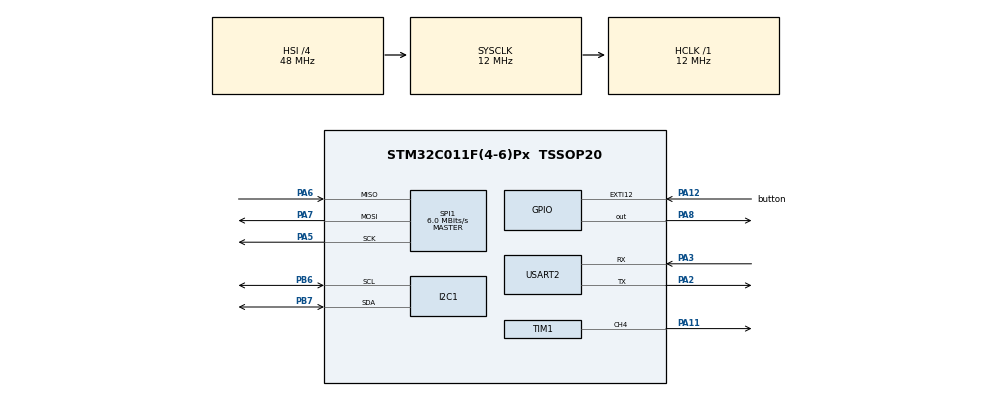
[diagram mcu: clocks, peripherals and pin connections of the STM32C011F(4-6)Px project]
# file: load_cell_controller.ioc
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I2C1.Timing=0x00402D41
Mcu.Family=STM32C0
Mcu.Name=STM32C011F(4-6)Px
Mcu.Package=TSSOP20
NVIC.EXTI4_15_IRQn=true\:0\:0\:false\:false\:true\:true\:true\:true
PA11\ [PA9].Signal=S_TIM1_CH4
PA12\ [PA10].GPIO_Label=button
PA12\ [PA10].Signal=GPXTI12
PA13.Mode=Serial_Wire
PA13.Signal=DEBUG_SWDIO
PA14-BOOT0.Mode=Serial_Wire
PA14-BOOT0.Signal=DEBUG_SWCLK
PA2.Mode=Asynchronous
PA2.Signal=USART2_TX
PA3.Mode=Asynchronous
PA3.Signal=USART2_RX
PA5.GPIO_PuPd=GPIO_NOPULL
PA5.GPIO_Speed=GPIO_SPEED_FREQ_VERY_HIGH
PA5.Mode=Full_Duplex_Master
PA5.Signal=SPI1_SCK
PA6.GPIO_PuPd=GPIO_NOPULL
PA6.GPIO_Speed=GPIO_SPEED_FREQ_VERY_HIGH
PA6.Mode=Full_Duplex_Master
PA6.Signal=SPI1_MISO
PA7.GPIO_PuPd=GPIO_NOPULL
PA7.GPIO_Speed=GPIO_SPEED_FREQ_VERY_HIGH
PA7.Mode=Full_Duplex_Master
PA7.Signal=SPI1_MOSI
PA8.Signal=GPIO_Output
PB6.Mode=I2C
PB6.Signal=I2C1_SCL
PB7.Mode=I2C
PB7.Signal=I2C1_SDA
ProjectManager.HeapSize=0x200
ProjectManager.StackSize=0x400
ProjectManager.TargetToolchain=STM32CubeIDE
RCC.ADCFreq_Value=12000000
RCC.AHBFreq_Value=12000000
RCC.CortexFreq_Value=12000000
RCC.EXTERNAL_CLOCK_VALUE=12288000
RCC.HCLKFreq_Value=12000000
RCC.HSE_VALUE=8000000
RCC.HSI_VALUE=48000000
RCC.LSE_VALUE=32768
RCC.SYSCLKFreq_VALUE=12000000
SH.S_TIM1_CH4.0=TIM1_CH4,PWM Generation4 CH4
SPI1.BaudRatePrescaler=SPI_BAUDRATEPRESCALER_2
SPI1.CLKPolarity=SPI_POLARITY_LOW
SPI1.CalculateBaudRate=6.0 MBits/s
SPI1.Direction=SPI_DIRECTION_2LINES
SPI1.Mode=SPI_MODE_MASTER
SPI1.VirtualType=VM_MASTER
TIM1.Channel-PWM\ Generation4\ CH4=TIM_CHANNEL_4
TIM1.Prescaler=1024
USART2.VirtualMode-Asynchronous=VM_ASYNC
board=custom

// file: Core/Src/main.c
/* USER CODE BEGIN Header */
/**
  ******************************************************************************
  * @file           : main.c
  * @brief          : Main program body
  ******************************************************************************
  * @attention
  *
  * Copyright (c) 2024 STMicroelectronics.
  * All rights reserved.
  *
  * This software is licensed under terms that can be found in the LICENSE file
  * in the root directory of this software component.
  * If no LICENSE file comes with this software, it is provided AS-IS.
  *
  ******************************************************************************
  */
/* USER CODE END Header */
#include "main.h"

/* USER CODE BEGIN Includes */
#include <stdio.h>
#include "MX25L.h"
/* USER CODE END Includes */

/* USER CODE BEGIN PD */
#define I2C_ADDRESS 0x18 << 1
/* USER CODE END PD */

I2C_HandleTypeDef hi2c1;

SPI_HandleTypeDef hspi1;

TIM_HandleTypeDef htim1;

UART_HandleTypeDef huart2;

/* USER CODE BEGIN PV */
int pwm = 65535;
int offset;
int writing = 0;
int address = 0;
/* USER CODE END PV */

void SystemClock_Config(void);
static void MX_GPIO_Init(void);
static void MX_I2C1_Init(void);
static void MX_SPI1_Init(void);
static void MX_TIM1_Init(void);
static void MX_USART2_UART_Init(void);
/* USER CODE BEGIN PFP */
int read_i2c_value();
void write_i2c_value(unsigned char value);
/* USER CODE END PFP */

int main(void)
{

  /* USER CODE BEGIN 1 */
	setbuf(stdout, NULL);
  /* USER CODE END 1 */

  /* MCU Configuration--------------------------------------------------------*/

  /* Reset of all peripherals, Initializes the Flash interface and the Systick. */
  HAL_Init();

  /* Configure the system clock */
  SystemClock_Config();

  /* Initialize all configured peripherals */
  MX_GPIO_Init();
  MX_I2C1_Init();
  MX_SPI1_Init();
  MX_TIM1_Init();
  MX_USART2_UART_Init();
  /* USER CODE BEGIN 2 */
  printf("\r\n");

   	printf("Scanning I2C bus:\r\n");
  	HAL_StatusTypeDef result;
   	uint8_t i;
   	for (i=1; i<128; i++)
   	{
   	  /*
   	   * the HAL wants a left aligned i2c address
   	   * &hi2c1 is the handle
   	   * (uint16_t)(i<<1) is the i2c address left aligned
   	   * retries 2
   	   * timeout 2
   	   */
   	  result = HAL_I2C_IsDeviceReady(&hi2c1, (uint16_t)(i<<1), 2, 2);
   	  if (result != HAL_OK) // HAL_ERROR or HAL_BUSY or HAL_TIMEOUT
   	  {
   		  printf("."); // No ACK received at that address
   	  }
   	  if (result == HAL_OK)
   	  {
   		  printf("0x%X", i); // Received an ACK at that address
   	  }
   	}
   	printf("\r\n");
   	write_i2c_value(0b00000000);

   	SPI_Init();
	SetStatus(0x00);
	byte status = GetStatus();
	printf("\r\nGet status:%d\r\n",status);
	printf("-----------------\r\n");
	char buffer[257];
	Get_Identification((byte *)buffer);
	printf("Identification read:\r\n");
	printf("Byte 0: %x\r\n", buffer[0]);
	printf("Byte 1: %x\r\n", buffer[1]);
	printf("Byte 2: %x\r\n", buffer[2]);
	printf("-----------------\r\n");

	for(int i = 0; i < 10; i++){
		offset += read_i2c_value();
		HAL_Delay(1000);
	}
	offset /= 10;
	printf("offset:%d", offset);
  /* USER CODE END 2 */

  /* Infinite loop */
  /* USER CODE BEGIN WHILE */
#define SCALE 100000
  while (1)
  {

	  int val = read_i2c_value() - offset;
	  if (val < 0){val = 0;}
	  long int scaled_val = val * 178;
	  printf("%ld %ld : %ld.%ld, wtg: %d, %d\r\n", val,scaled_val, scaled_val / SCALE, scaled_val % SCALE,writing,address);
	  address += 1;
	  HAL_Delay(100);
    /* USER CODE END WHILE */

  }
}

void SystemClock_Config(void)
{
  RCC_OscInitTypeDef RCC_OscInitStruct = {0};
  RCC_ClkInitTypeDef RCC_ClkInitStruct = {0};

  /** Initializes the RCC Oscillators according to the specified parameters
  * in the RCC_OscInitTypeDef structure.
  */
  RCC_OscInitStruct.OscillatorType = RCC_OSCILLATORTYPE_HSI;
  RCC_OscInitStruct.HSIState = RCC_HSI_ON;
  RCC_OscInitStruct.HSIDiv = RCC_HSI_DIV4;
  RCC_OscInitStruct.HSICalibrationValue = RCC_HSICALIBRATION_DEFAULT;
  if (HAL_RCC_OscConfig(&RCC_OscInitStruct) != HAL_OK)
  {
    Error_Handler();
  }

  /** Initializes the CPU, AHB and APB buses clocks
  */
  RCC_ClkInitStruct.ClockType = RCC_CLOCKTYPE_HCLK|RCC_CLOCKTYPE_SYSCLK
                              |RCC_CLOCKTYPE_PCLK1;
  RCC_ClkInitStruct.SYSCLKSource = RCC_SYSCLKSOURCE_HSI;
  RCC_ClkInitStruct.SYSCLKDivider = RCC_SYSCLK_DIV1;
  RCC_ClkInitStruct.AHBCLKDivider = RCC_HCLK_DIV1;
  RCC_ClkInitStruct.APB1CLKDivider = RCC_APB1_DIV1;

  if (HAL_RCC_ClockConfig(&RCC_ClkInitStruct, FLASH_LATENCY_0) != HAL_OK)
  {
    Error_Handler();
  }
}

static void MX_I2C1_Init(void)
{

  hi2c1.Instance = I2C1;
  hi2c1.Init.Timing = 0x00402D41;
  hi2c1.Init.OwnAddress1 = 0;
  hi2c1.Init.AddressingMode = I2C_ADDRESSINGMODE_7BIT;
  hi2c1.Init.DualAddressMode = I2C_DUALADDRESS_DISABLE;
  hi2c1.Init.OwnAddress2 = 0;
  hi2c1.Init.OwnAddress2Masks = I2C_OA2_NOMASK;
  hi2c1.Init.GeneralCallMode = I2C_GENERALCALL_DISABLE;
  hi2c1.Init.NoStretchMode = I2C_NOSTRETCH_DISABLE;
  if (HAL_I2C_Init(&hi2c1) != HAL_OK)
  {
    Error_Handler();
  }

  /** Configure Analogue filter
  */
  if (HAL_I2CEx_ConfigAnalogFilter(&hi2c1, I2C_ANALOGFILTER_ENABLE) != HAL_OK)
  {
    Error_Handler();
  }

  /** Configure Digital filter
  */
  if (HAL_I2CEx_ConfigDigitalFilter(&hi2c1, 0) != HAL_OK)
  {
    Error_Handler();
  }

}

static void MX_SPI1_Init(void)
{

  /* SPI1 parameter configuration*/
  hspi1.Instance = SPI1;
  hspi1.Init.Mode = SPI_MODE_MASTER;
  hspi1.Init.Direction = SPI_DIRECTION_2LINES;
  hspi1.Init.DataSize = SPI_DATASIZE_8BIT;
  hspi1.Init.CLKPolarity = SPI_POLARITY_LOW;
  hspi1.Init.CLKPhase = SPI_PHASE_1EDGE;
  hspi1.Init.NSS = SPI_NSS_SOFT;
  hspi1.Init.BaudRatePrescaler = SPI_BAUDRATEPRESCALER_2;
  hspi1.Init.FirstBit = SPI_FIRSTBIT_MSB;
  hspi1.Init.TIMode = SPI_TIMODE_DISABLE;
  hspi1.Init.CRCCalculation = SPI_CRCCALCULATION_DISABLE;
  hspi1.Init.CRCPolynomial = 7;
  hspi1.Init.CRCLength = SPI_CRC_LENGTH_DATASIZE;
  hspi1.Init.NSSPMode = SPI_NSS_PULSE_ENABLE;
  if (HAL_SPI_Init(&hspi1) != HAL_OK)
  {
    Error_Handler();
  }

}

static void MX_TIM1_Init(void)
{

  TIM_MasterConfigTypeDef sMasterConfig = {0};
  TIM_OC_InitTypeDef sConfigOC = {0};
  TIM_BreakDeadTimeConfigTypeDef sBreakDeadTimeConfig = {0};

  htim1.Instance = TIM1;
  htim1.Init.Prescaler = 1024;
  htim1.Init.CounterMode = TIM_COUNTERMODE_UP;
  htim1.Init.Period = 65535;
  htim1.Init.ClockDivision = TIM_CLOCKDIVISION_DIV1;
  htim1.Init.RepetitionCounter = 0;
  htim1.Init.AutoReloadPreload = TIM_AUTORELOAD_PRELOAD_DISABLE;
  if (HAL_TIM_PWM_Init(&htim1) != HAL_OK)
  {
    Error_Handler();
  }
  sMasterConfig.MasterOutputTrigger = TIM_TRGO_RESET;
  sMasterConfig.MasterOutputTrigger2 = TIM_TRGO2_RESET;
  sMasterConfig.MasterSlaveMode = TIM_MASTERSLAVEMODE_DISABLE;
  if (HAL_TIMEx_MasterConfigSynchronization(&htim1, &sMasterConfig) != HAL_OK)
  {
    Error_Handler();
  }
  sConfigOC.OCMode = TIM_OCMODE_PWM1;
  sConfigOC.Pulse = 0;
  sConfigOC.OCPolarity = TIM_OCPOLARITY_HIGH;
  sConfigOC.OCFastMode = TIM_OCFAST_DISABLE;
  sConfigOC.OCIdleState = TIM_OCIDLESTATE_RESET;
  sConfigOC.OCNIdleState = TIM_OCNIDLESTATE_RESET;
  if (HAL_TIM_PWM_ConfigChannel(&htim1, &sConfigOC, TIM_CHANNEL_4) != HAL_OK)
  {
    Error_Handler();
  }
  sBreakDeadTimeConfig.OffStateRunMode = TIM_OSSR_DISABLE;
  sBreakDeadTimeConfig.OffStateIDLEMode = TIM_OSSI_DISABLE;
  sBreakDeadTimeConfig.LockLevel = TIM_LOCKLEVEL_OFF;
  sBreakDeadTimeConfig.DeadTime = 0;
  sBreakDeadTimeConfig.BreakState = TIM_BREAK_DISABLE;
  sBreakDeadTimeConfig.BreakPolarity = TIM_BREAKPOLARITY_HIGH;
  sBreakDeadTimeConfig.BreakFilter = 0;
  sBreakDeadTimeConfig.BreakAFMode = TIM_BREAK_AFMODE_INPUT;
  sBreakDeadTimeConfig.Break2State = TIM_BREAK2_DISABLE;
  sBreakDeadTimeConfig.Break2Polarity = TIM_BREAK2POLARITY_HIGH;
  sBreakDeadTimeConfig.Break2Filter = 0;
  sBreakDeadTimeConfig.Break2AFMode = TIM_BREAK_AFMODE_INPUT;
  sBreakDeadTimeConfig.AutomaticOutput = TIM_AUTOMATICOUTPUT_DISABLE;
  if (HAL_TIMEx_ConfigBreakDeadTime(&htim1, &sBreakDeadTimeConfig) != HAL_OK)
  {
    Error_Handler();
  }
  HAL_TIM_MspPostInit(&htim1);

}

static void MX_USART2_UART_Init(void)
{

  huart2.Instance = USART2;
  huart2.Init.BaudRate = 115200;
  huart2.Init.WordLength = UART_WORDLENGTH_8B;
  huart2.Init.StopBits = UART_STOPBITS_1;
  huart2.Init.Parity = UART_PARITY_NONE;
  huart2.Init.Mode = UART_MODE_TX_RX;
  huart2.Init.HwFlowCtl = UART_HWCONTROL_NONE;
  huart2.Init.OverSampling = UART_OVERSAMPLING_16;
  huart2.Init.OneBitSampling = UART_ONE_BIT_SAMPLE_DISABLE;
  huart2.Init.ClockPrescaler = UART_PRESCALER_DIV1;
  huart2.AdvancedInit.AdvFeatureInit = UART_ADVFEATURE_NO_INIT;
  if (HAL_UART_Init(&huart2) != HAL_OK)
  {
    Error_Handler();
  }

}

static void MX_GPIO_Init(void)
{
  GPIO_InitTypeDef GPIO_InitStruct = {0};

  /* GPIO Ports Clock Enable */
  __HAL_RCC_GPIOB_CLK_ENABLE();
  __HAL_RCC_GPIOA_CLK_ENABLE();

  /*Configure GPIO pin Output Level */
  HAL_GPIO_WritePin(GPIOA, GPIO_PIN_8, GPIO_PIN_RESET);

  /*Configure GPIO pin : PA8 */
  GPIO_InitStruct.Pin = GPIO_PIN_8;
  GPIO_InitStruct.Mode = GPIO_MODE_OUTPUT_PP;
  GPIO_InitStruct.Pull = GPIO_NOPULL;
  GPIO_InitStruct.Speed = GPIO_SPEED_FREQ_LOW;
  HAL_GPIO_Init(GPIOA, &GPIO_InitStruct);

  /*Configure GPIO pin : button_Pin */
  GPIO_InitStruct.Pin = button_Pin;
  GPIO_InitStruct.Mode = GPIO_MODE_IT_RISING;
  GPIO_InitStruct.Pull = GPIO_NOPULL;
  HAL_GPIO_Init(button_GPIO_Port, &GPIO_InitStruct);

  /* EXTI interrupt init*/
  HAL_NVIC_SetPriority(EXTI4_15_IRQn, 0, 0);
  HAL_NVIC_EnableIRQ(EXTI4_15_IRQn);

}

/* USER CODE BEGIN 4 */
int _write(int file, char *ptr, int len)
{
  HAL_UART_Transmit(&huart2,(uint8_t *)ptr,len,10);
  return len;
}

void HAL_GPIO_EXTI_Callback(uint16_t GPIO_Pin)
{
if (GPIO_Pin == GPIO_PIN_12)
{
	writing = !writing;
}
}

int read_i2c_value(){
	HAL_StatusTypeDef s;
	uint8_t err;
	uint8_t buf[2] = {};
	s = HAL_I2C_Master_Receive(&hi2c1, I2C_ADDRESS, (uint8_t *)buf, 2, 3000);
	if (HAL_OK == s)
	{
		return buf[0] << 8 | buf[1];
	}
	return -1 * (int)s;
}
void write_i2c_value(unsigned char value){
	HAL_StatusTypeDef s;
	uint8_t err;
	uint8_t buf[1] = {};
	buf[0] = value;
	s = HAL_I2C_Master_Transmit(&hi2c1, I2C_ADDRESS, buf, 1, 3000);
}
/* USER CODE END 4 */

void Error_Handler(void)
{
  __disable_irq();
  while (1)
  {
  }
}
